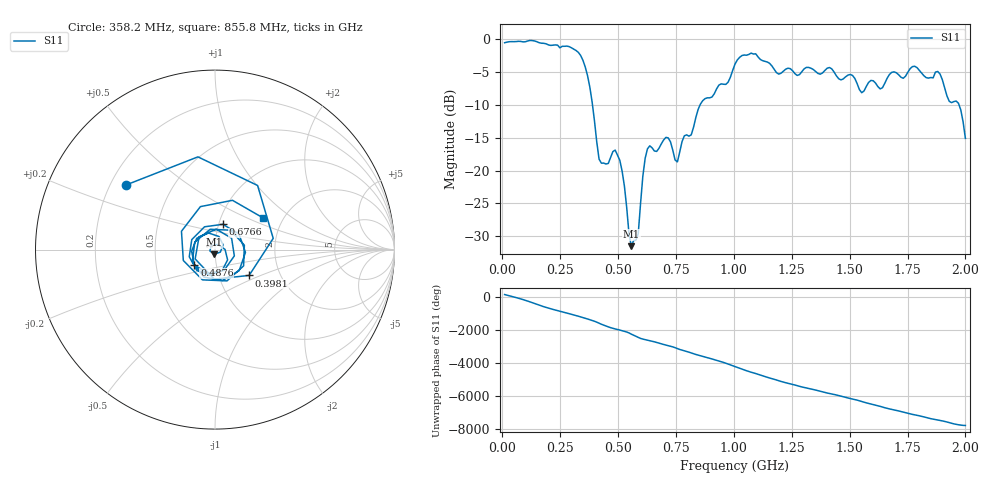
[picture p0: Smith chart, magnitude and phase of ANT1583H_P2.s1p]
!Created with skrf (http://scikit-rf.org).
# Hz S RI R 50.0
!freq ReS11 ImS11
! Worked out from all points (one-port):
!   201 points, 10 MHz to 2 GHz, reference 50 ohm
!   lowest |S11| = -31.5 dB at 557.2 MHz (marker M1), VSWR 1.05, Z = 49.5 - j2.6 ohm
!   |S11| at or under -10 dB: 389.4 MHz to 854.6 MHz (465.1 MHz wide, 74.8 % of centre); 1.972 GHz to end of sweep
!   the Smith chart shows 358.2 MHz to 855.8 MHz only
!   S11 on the Smith chart (normalised r, x): 358.2 MHz: 0.27, +0.31; 398.1 MHz: 1.39, -0.43; 487.6 MHz: 0.78, -0.14; 676.6 MHz: 1.05, +0.30; 855.8 MHz: 1.57, +0.62
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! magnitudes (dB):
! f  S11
! 10 MHz  -0.6
! 258.8 MHz  -1.1
! 358.2 MHz  -4.3
! 398.1 MHz  -12.5
! 417.9 MHz  -18.3
! 427.9 MHz  -18.9
! 487.6 MHz  -16.9
! 507.5 MHz  -18.4
! 557.2 MHz  -31.5
! 587.1 MHz  -29.6
! 607 MHz  -20.9
! 626.9 MHz  -16.7
! 676.6 MHz  -16.6
! 716.5 MHz  -15.0
! 756.2 MHz  -18.7
! 855.8 MHz  -9.9
! 975.1 MHz  -6.6
! 1.005 GHz  -3.8
! 1.075 GHz  -2.2
! 1.194 GHz  -5.4
! 1.254 GHz  -4.8
! 1.502 GHz  -5.4
! 1.552 GHz  -8.2
! 1.751 GHz  -5.1
! 1.891 GHz  -5.3
! 1.93 GHz  -9.5
! 1.97 GHz  -9.8
! 2 GHz  -15.1
